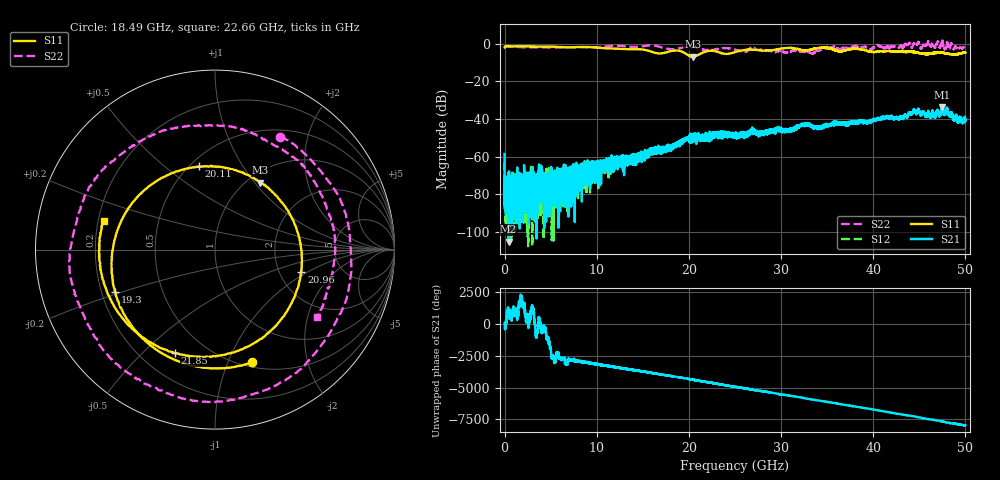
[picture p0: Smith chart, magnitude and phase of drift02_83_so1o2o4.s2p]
!Created with skrf (http://scikit-rf.org).
# Hz S RI R 50.0
!freq ReS11 ImS11 ReS21 ImS21 ReS12 ImS12 ReS22 ImS22
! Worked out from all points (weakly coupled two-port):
!   10001 points, 300 kHz to 50 GHz, reference 50 ohm
!   highest |S21| = -33.72 dB at 47.5 GHz (marker M1); lowest = -105.1 dB at 430.3 MHz (marker M2)
!   lowest |S11| = -6.9 dB at 20.43 GHz (marker M3), VSWR 2.64, Z = 57.1 + j53.5 ohm
!   |S11| at or under -10 dB: nowhere
!   |S22| runs from -5.4 to 1.7 dB; largest |S21 - S12| = 0.0034
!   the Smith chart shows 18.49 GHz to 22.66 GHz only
!   S11 on the Smith chart (normalised r, x): 18.49 GHz: 0.55, -1.23; 19.3 GHz: 0.26, -0.19; 20.11 GHz: 0.55, +0.66; 20.96 GHz: 2.65, -0.87; 21.85 GHz: 0.34, -0.63; 22.66 GHz: 0.22, +0.12
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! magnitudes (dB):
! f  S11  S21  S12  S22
! 300 kHz  -2.0  -58.6  -63.0  -1.3
! 255.3 MHz  -1.4  -81.0  -82.3  -1.4
! 430.3 MHz  -1.4  -105.1  -77.6  -1.4
! 3.445 GHz  -1.5  -72.3  -78.3  -1.9
! 3.935 GHz  -1.5  -72.2  -79.5  -2.0
! 4.525 GHz  -1.6  -80.0  -71.5  -2.0
! 8.335 GHz  -1.7  -70.4  -70.1  -1.9
! 16.67 GHz  -5.2  -54.2  -57.6  -1.4
! 18.49 GHz  -3.6  -53.8  -53.9  -2.8
! 19.3 GHz  -4.4  -51.9  -52.3  -2.1
! 20.11 GHz  -6.5  -50.0  -49.3  -1.5
! 20.43 GHz  -6.9  -48.8  -50.7  -1.8
! 20.96 GHz  -6.1  -50.2  -49.4  -2.3
! 21.85 GHz  -4.2  -50.5  -49.7  -3.5
! 22.66 GHz  -3.9  -47.9  -49.7  -3.3
! 25 GHz  -4.5  -48.3  -48.6  -3.2
! 26.9 GHz  -3.2  -46.3  -45.4  -1.6
! 33.34 GHz  -3.0  -44.0  -44.2  -5.2
! 34.89 GHz  -2.2  -43.3  -43.4  -2.3
! 41.67 GHz  -3.9  -39.5  -39.3  -2.2
! 47.5 GHz  -4.8  -33.7  -33.6  1.2
! 50 GHz  -4.7  -40.5  -40.0  -1.6
